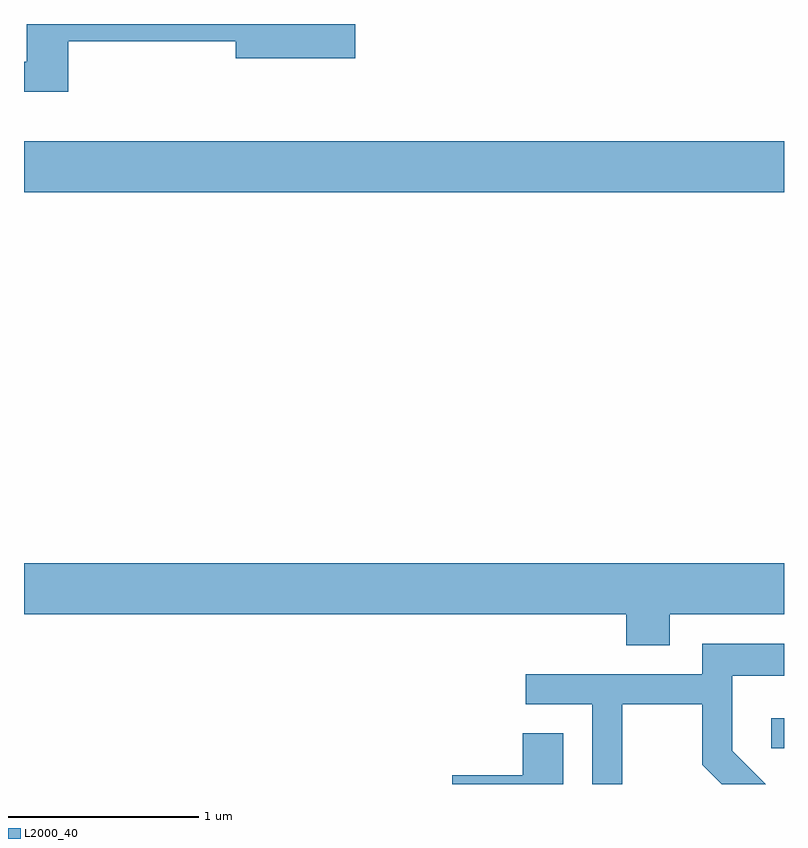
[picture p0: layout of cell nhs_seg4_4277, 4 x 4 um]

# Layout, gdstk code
import gdstk
lib = gdstk.Library(unit=1e-6, precision=1e-09)
def R(c, l, rs):  # rectangles x0, y0, x1, y1
    for r in rs: c.add(gdstk.rectangle(r[:2], r[2:], *l))
def P(c, l, *ps):  # polygons
    for p in ps: c.add(gdstk.Polygon(p, *l))
L2000_40 = (2000, 40)

nhs_seg4_4277 = lib.new_cell('nhs_seg4_4277')
R(nhs_seg4_4277, L2000_40, [(313.543,1376.171,313.611,1376.329), (309.611,1379.096,313.611,1379.364)])
P(nhs_seg4_4277, L2000_40, [(309.844,1379.891),(310.726,1379.891),(310.726,1379.801),(311.354,1379.801),(311.354,1379.982),(309.626,1379.982),(309.626,1379.784),(309.611,1379.784),(309.611,1379.626),(309.844,1379.626)],
  [(313.009,1376.876),(313.611,1376.876),(313.611,1377.144),(309.611,1377.144),(309.611,1376.876),(312.781,1376.876),(312.781,1376.711),(313.009,1376.711)],
  [(312.759,1376.401),(313.181,1376.401),(313.181,1376.084),(313.283,1375.982),(313.514,1375.982),(313.339,1376.157),(313.339,1376.551),(313.611,1376.551),(313.611,1376.719),(313.181,1376.719),(313.181,1376.559),(312.253,1376.559),(312.253,1376.401),(312.601,1376.401),(312.601,1375.982),(312.759,1375.982)],
  [(312.449,1376.249),(312.236,1376.249),(312.236,1376.029),(311.866,1376.029),(311.866,1375.982),(312.449,1375.982)])

lib.write_gds('nhs_seg4_4277.gds')
